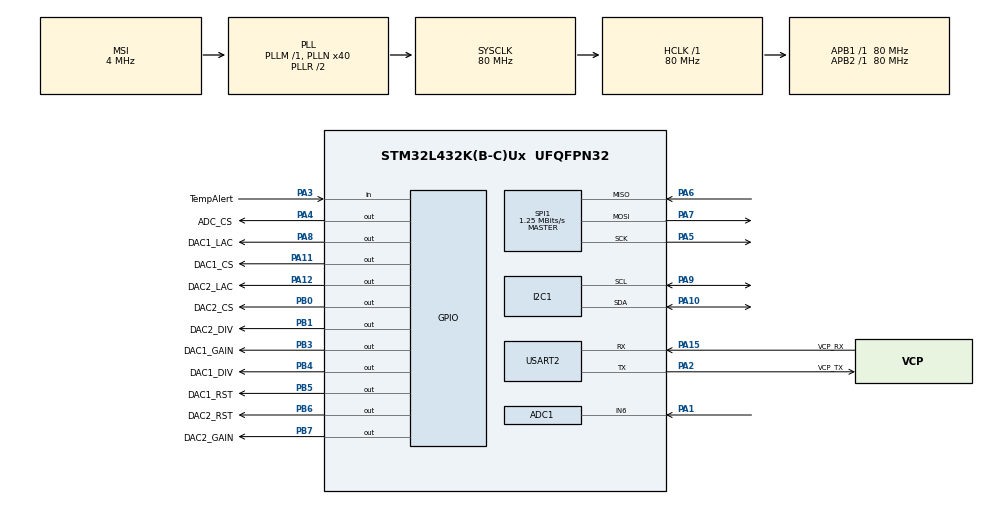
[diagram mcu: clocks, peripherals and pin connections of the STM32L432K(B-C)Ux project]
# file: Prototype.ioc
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ADC1.Channel-0\#ChannelRegularConversion=ADC_CHANNEL_6
ADC1.NbrOfConversionFlag=1
ADC1.OffsetNumber-0\#ChannelRegularConversion=ADC_OFFSET_NONE
ADC1.Rank-0\#ChannelRegularConversion=1
ADC1.Resolution=ADC_RESOLUTION_12B
ADC1.SamplingTime-0\#ChannelRegularConversion=ADC_SAMPLETIME_2CYCLES_5
ADC1.master=1
Dma.Request0=USART2_RX
Dma.Request1=USART2_TX
Dma.USART2_RX.0.Direction=DMA_PERIPH_TO_MEMORY
Dma.USART2_RX.0.Instance=DMA1_Channel6
Dma.USART2_RX.0.MemDataAlignment=DMA_MDATAALIGN_BYTE
Dma.USART2_RX.0.MemInc=DMA_MINC_ENABLE
Dma.USART2_RX.0.Mode=DMA_NORMAL
Dma.USART2_RX.0.PeriphDataAlignment=DMA_PDATAALIGN_BYTE
Dma.USART2_RX.0.PeriphInc=DMA_PINC_DISABLE
Dma.USART2_RX.0.Priority=DMA_PRIORITY_LOW
Dma.USART2_TX.1.Direction=DMA_MEMORY_TO_PERIPH
Dma.USART2_TX.1.Instance=DMA1_Channel7
Dma.USART2_TX.1.MemDataAlignment=DMA_MDATAALIGN_BYTE
Dma.USART2_TX.1.MemInc=DMA_MINC_ENABLE
Dma.USART2_TX.1.Mode=DMA_NORMAL
Dma.USART2_TX.1.PeriphDataAlignment=DMA_PDATAALIGN_BYTE
Dma.USART2_TX.1.PeriphInc=DMA_PINC_DISABLE
Dma.USART2_TX.1.Priority=DMA_PRIORITY_LOW
FREERTOS.BinarySemaphores01=semV1,Dynamic,NULL;semV2,Dynamic,NULL;semV3,Dynamic,NULL;semV4,Dynamic,NULL;semTemp,Dynamic,NULL;semP1,Dynamic,NULL;semVSIM,Dynamic,NULL
FREERTOS.CountingSemaphores01=semReturn,7,Dynamic,NULL
FREERTOS.Mutexes01=mutexSPI,Dynamic,NULL;mutexPrint,Dynamic,NULL
FREERTOS.Tasks01=CLI,8,128,StartCLI,Default,NULL,Dynamic,NULL,NULL;Temp,40,128,StartTemp,Default,NULL,Dynamic,NULL,NULL;V1,24,128,StartV1,Default,NULL,Dynamic,NULL,NULL;V2,24,128,StartV2,Default,NULL,Dynamic,NULL,NULL;V3,24,128,StarV3,Default,NULL,Dynamic,NULL,NULL;V4,24,128,StartV4,Default,NULL,Dynamic,NULL,NULL;P1,24,128,StartP1,Default,NULL,Dynamic,NULL,NULL;VSIM,24,128,StartVSIM,Default,NULL,Dynamic,NULL,NULL;Print,16,128,StartPrint,Default,NULL,Dynamic,NULL,NULL
FREERTOS.configENABLE_FPU=1
FREERTOS.configQUEUE_REGISTRY_SIZE=8
FREERTOS.configTOTAL_HEAP_SIZE=8000
FREERTOS.configUSE_NEWLIB_REENTRANT=1
I2C1.Timing=0x10909CEC
Mcu.Family=STM32L4
Mcu.Name=STM32L432K(B-C)Ux
Mcu.Package=UFQFPN32
NVIC.DMA1_Channel6_IRQn=true\:5\:0\:false\:false\:true\:true\:false\:true\:true
NVIC.DMA1_Channel7_IRQn=true\:5\:0\:false\:false\:true\:true\:false\:true\:true
NVIC.PriorityGroup=NVIC_PRIORITYGROUP_4
NVIC.TIM1_UP_TIM16_IRQn=true\:15\:0\:false\:false\:true\:false\:false\:true\:true
NVIC.TimeBase=TIM1_UP_TIM16_IRQn
NVIC.TimeBaseIP=TIM1
NVIC.USART2_IRQn=true\:5\:0\:false\:false\:true\:true\:true\:true\:true
PA0.GPIO_Label=MCO [High speed clock in]
PA0.Mode=HSE-External-Clock-Source-for-LittleOrca
PA0.Signal=RCC_CK_IN
PA1.Signal=ADCx_IN6
PA10.Mode=I2C
PA10.Signal=I2C1_SDA
PA11.GPIO_Label=DAC1_CS
PA11.PinState=GPIO_PIN_SET
PA11.Signal=GPIO_Output
PA12.GPIO_Label=DAC2_LAC
PA12.Signal=GPIO_Output
PA13\ (JTMS-SWDIO).GPIO_Label=SWDIO
PA13\ (JTMS-SWDIO).Mode=Serial_Wire
PA13\ (JTMS-SWDIO).Signal=SYS_JTMS-SWDIO
PA14\ (JTCK-SWCLK).GPIO_Label=SWCLK
PA14\ (JTCK-SWCLK).Mode=Serial_Wire
PA14\ (JTCK-SWCLK).Signal=SYS_JTCK-SWCLK
PA15\ (JTDI).GPIO_Label=VCP_RX
PA15\ (JTDI).Mode=Asynchronous
PA15\ (JTDI).Signal=USART2_RX
PA2.GPIO_Label=VCP_TX
PA2.Mode=Asynchronous
PA2.Signal=USART2_TX
PA3.GPIO_Label=TempAlert
PA3.Signal=GPIO_Input
PA4.GPIO_Label=ADC_CS
PA4.PinState=GPIO_PIN_SET
PA4.Signal=GPIO_Output
PA5.Mode=Full_Duplex_Master
PA5.Signal=SPI1_SCK
PA6.Mode=Full_Duplex_Master
PA6.Signal=SPI1_MISO
PA7.Mode=Full_Duplex_Master
PA7.Signal=SPI1_MOSI
PA8.GPIO_Label=DAC1_LAC
PA8.PinState=GPIO_PIN_RESET
PA8.Signal=GPIO_Output
PA9.Mode=I2C
PA9.Signal=I2C1_SCL
PB0.GPIO_Label=DAC2_CS
PB0.PinState=GPIO_PIN_SET
PB0.Signal=GPIO_Output
PB1.GPIO_Label=DAC2_DIV
PB1.GPIO_ModeDefaultOutputPP=GPIO_MODE_OUTPUT_PP
PB1.GPIO_PuPd=GPIO_NOPULL
PB1.PinState=GPIO_PIN_SET
PB1.Signal=GPIO_Output
PB3\ (JTDO-TRACESWO).GPIO_Label=DAC1_GAIN
PB3\ (JTDO-TRACESWO).PinState=GPIO_PIN_SET
PB3\ (JTDO-TRACESWO).Signal=GPIO_Output
PB4\ (NJTRST).GPIO_Label=DAC1_DIV
PB4\ (NJTRST).PinState=GPIO_PIN_SET
PB4\ (NJTRST).Signal=GPIO_Output
PB5.GPIO_Label=DAC1_RST
PB5.Signal=GPIO_Output
PB6.GPIO_Label=DAC2_RST
PB6.Signal=GPIO_Output
PB7.GPIO_Label=DAC2_GAIN
PB7.PinState=GPIO_PIN_SET
PB7.Signal=GPIO_Output
PC14-OSC32_IN\ (PC14).Mode=LSE-External-Oscillator
PC14-OSC32_IN\ (PC14).Signal=RCC_OSC32_IN
PC15-OSC32_OUT\ (PC15).Mode=LSE-External-Oscillator
PC15-OSC32_OUT\ (PC15).Signal=RCC_OSC32_OUT
ProjectManager.HeapSize=0x200
ProjectManager.StackSize=0x400
ProjectManager.TargetToolchain=STM32CubeIDE
RCC.ADCFreq_Value=32000000
RCC.AHBFreq_Value=80000000
RCC.APB1Freq_Value=80000000
RCC.APB1TimFreq_Value=80000000
RCC.APB2Freq_Value=80000000
RCC.APB2TimFreq_Value=80000000
RCC.CortexFreq_Value=80000000
RCC.HCLKFreq_Value=80000000
RCC.HSE_VALUE=8000000
RCC.HSI16_VALUE=16000000
RCC.HSI48_VALUE=48000000
RCC.HSI_VALUE=16000000
RCC.MSI_VALUE=4000000
RCC.PLLMUL=RCC_PLLMUL_4
RCC.PLLN=40
RCC.PLLSAI1N=16
RCC.SYSCLKFreq_VALUE=80000000
RCC.SYSCLKSource=RCC_SYSCLKSOURCE_PLLCLK
RCC.USBFreq_Value=32000000
RCC.VCOOutputFreq_Value=160000000
SH.ADCx_IN6.0=ADC1_IN6,IN6-Single-Ended
SPI1.BaudRatePrescaler=SPI_BAUDRATEPRESCALER_64
SPI1.CLKPhase=SPI_PHASE_1EDGE
SPI1.CLKPolarity=SPI_POLARITY_LOW
SPI1.CRCCalculation=SPI_CRCCALCULATION_DISABLE
SPI1.CalculateBaudRate=1.25 MBits/s
SPI1.DataSize=SPI_DATASIZE_8BIT
SPI1.Direction=SPI_DIRECTION_2LINES
SPI1.Mode=SPI_MODE_MASTER
SPI1.TIMode=SPI_TIMODE_DISABLE
SPI1.VirtualType=VM_MASTER
USART2.VirtualMode-Asynchronous=VM_ASYNC
VP_FREERTOS_VS_CMSIS_V2.Mode=CMSIS_V2
VP_SYS_VS_tim1.Mode=TIM1
board=NUCLEO-L432KC

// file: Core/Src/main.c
/* USER CODE BEGIN Header */
/**
  ******************************************************************************
  * @file           : main.c
  * @brief          : Main program body
  ******************************************************************************
  * @attention
  *
  * Copyright (c) 2024 STMicroelectronics.
  * All rights reserved.
  *
  * This software is licensed under terms that can be found in the LICENSE file
  * in the root directory of this software component.
  * If no LICENSE file comes with this software, it is provided AS-IS.
  *
  ******************************************************************************
  */
/* USER CODE END Header */
#include "main.h"
#include "cmsis_os.h"

ADC_HandleTypeDef hadc1;

I2C_HandleTypeDef hi2c1;

SPI_HandleTypeDef hspi1;

UART_HandleTypeDef huart2;
DMA_HandleTypeDef hdma_usart2_rx;
DMA_HandleTypeDef hdma_usart2_tx;

/* Definitions for CLI */
osThreadId_t CLIHandle;
const osThreadAttr_t CLI_attributes = {
  .name = "CLI",
  .stack_size = 128 * 4,
  .priority = (osPriority_t) osPriorityLow,
};
/* Definitions for Temp */
osThreadId_t TempHandle;
const osThreadAttr_t Temp_attributes = {
  .name = "Temp",
  .stack_size = 128 * 4,
  .priority = (osPriority_t) osPriorityHigh,
};
/* Definitions for V1 */
osThreadId_t V1Handle;
const osThreadAttr_t V1_attributes = {
  .name = "V1",
  .stack_size = 128 * 4,
  .priority = (osPriority_t) osPriorityNormal,
};
/* Definitions for V2 */
osThreadId_t V2Handle;
const osThreadAttr_t V2_attributes = {
  .name = "V2",
  .stack_size = 128 * 4,
  .priority = (osPriority_t) osPriorityNormal,
};
/* Definitions for V3 */
osThreadId_t V3Handle;
const osThreadAttr_t V3_attributes = {
  .name = "V3",
  .stack_size = 128 * 4,
  .priority = (osPriority_t) osPriorityNormal,
};
/* Definitions for V4 */
osThreadId_t V4Handle;
const osThreadAttr_t V4_attributes = {
  .name = "V4",
  .stack_size = 128 * 4,
  .priority = (osPriority_t) osPriorityNormal,
};
/* Definitions for P1 */
osThreadId_t P1Handle;
const osThreadAttr_t P1_attributes = {
  .name = "P1",
  .stack_size = 128 * 4,
  .priority = (osPriority_t) osPriorityNormal,
};
/* Definitions for VSIM */
osThreadId_t VSIMHandle;
const osThreadAttr_t VSIM_attributes = {
  .name = "VSIM",
  .stack_size = 128 * 4,
  .priority = (osPriority_t) osPriorityNormal,
};
/* Definitions for Print */
osThreadId_t PrintHandle;
const osThreadAttr_t Print_attributes = {
  .name = "Print",
  .stack_size = 128 * 4,
  .priority = (osPriority_t) osPriorityBelowNormal,
};
/* Definitions for mutexSPI */
osMutexId_t mutexSPIHandle;
const osMutexAttr_t mutexSPI_attributes = {
  .name = "mutexSPI"
};
/* Definitions for mutexPrint */
osMutexId_t mutexPrintHandle;
const osMutexAttr_t mutexPrint_attributes = {
  .name = "mutexPrint"
};
/* Definitions for semV1 */
osSemaphoreId_t semV1Handle;
const osSemaphoreAttr_t semV1_attributes = {
  .name = "semV1"
};
/* Definitions for semV2 */
osSemaphoreId_t semV2Handle;
const osSemaphoreAttr_t semV2_attributes = {
  .name = "semV2"
};
/* Definitions for semV3 */
osSemaphoreId_t semV3Handle;
const osSemaphoreAttr_t semV3_attributes = {
  .name = "semV3"
};
/* Definitions for semV4 */
osSemaphoreId_t semV4Handle;
const osSemaphoreAttr_t semV4_attributes = {
  .name = "semV4"
};
/* Definitions for semTemp */
osSemaphoreId_t semTempHandle;
const osSemaphoreAttr_t semTemp_attributes = {
  .name = "semTemp"
};
/* Definitions for semP1 */
osSemaphoreId_t semP1Handle;
const osSemaphoreAttr_t semP1_attributes = {
  .name = "semP1"
};
/* Definitions for semVSIM */
osSemaphoreId_t semVSIMHandle;
const osSemaphoreAttr_t semVSIM_attributes = {
  .name = "semVSIM"
};
/* Definitions for semReturn */
osSemaphoreId_t semReturnHandle;
const osSemaphoreAttr_t semReturn_attributes = {
  .name = "semReturn"
};
/* USER CODE BEGIN PV */
uint8_t UART_tx_flag = 0;
uint8_t UART_rx_flag = 0;
uint8_t UART_rx[1];
uint8_t UART_rx_buff[100];
uint8_t UARTcnt = 0;
struct Channels channels;
struct pH p1;

// message queue
osMessageQueueId_t queueHandle;
const osMessageQueueAttr_t queue_attributes = {
  .name = "queue"
};

/* USER CODE END PV */

void SystemClock_Config(void);
static void MX_GPIO_Init(void);
static void MX_DMA_Init(void);
static void MX_USART2_UART_Init(void);
static void MX_SPI1_Init(void);
static void MX_I2C1_Init(void);
static void MX_ADC1_Init(void);
void StartCLI(void *argument);
void StartTemp(void *argument);
void StartV1(void *argument);
void StartV2(void *argument);
void StarV3(void *argument);
void StartV4(void *argument);
void StartP1(void *argument);
void StartVSIM(void *argument);
void StartPrint(void *argument);

/* USER CODE BEGIN PFP */
void SPI1_change_polarity(void);
void voltammerty(uint8_t channel, uint8_t set, uint8_t DAC_Vin, uint8_t DAC_Vw);
void ADC_get_send(uint8_t setting, uint8_t channel, float dac, uint32_t tick);
void DAC_set(uint8_t setting, uint8_t channel, float voltage);
/* USER CODE END PFP */

int main(void)
{

  /* MCU Configuration--------------------------------------------------------*/

  /* Reset of all peripherals, Initializes the Flash interface and the Systick. */
  HAL_Init();

  /* Configure the system clock */
  SystemClock_Config();

  /* Initialize all configured peripherals */
  MX_GPIO_Init();
  MX_DMA_Init();
  MX_USART2_UART_Init();
  MX_SPI1_Init();
  MX_I2C1_Init();
  MX_ADC1_Init();
  /* USER CODE BEGIN 2 */
	// ADC change polarity SPI for DAC's
	ADC_change_polarity();
	SPI1_change_polarity();
	check_ADC();
	// disable internal reference DAC's
	write_DAC(DAC_1, CONFIG, 0x0100);
	write_DAC(DAC_2, CONFIG, 0x0100);
  /* USER CODE END 2 */

  /* Init scheduler */
  osKernelInitialize();
  /* Create the mutex(es) */
  /* creation of mutexSPI */
  mutexSPIHandle = osMutexNew(&mutexSPI_attributes);

  /* creation of mutexPrint */
  mutexPrintHandle = osMutexNew(&mutexPrint_attributes);

  /* Create the semaphores(s) */
  /* creation of semV1 */
  semV1Handle = osSemaphoreNew(1, 0, &semV1_attributes);

  /* creation of semV2 */
  semV2Handle = osSemaphoreNew(1, 0, &semV2_attributes);

  /* creation of semV3 */
  semV3Handle = osSemaphoreNew(1, 0, &semV3_attributes);

  /* creation of semV4 */
  semV4Handle = osSemaphoreNew(1, 0, &semV4_attributes);

  /* creation of semTemp */
  semTempHandle = osSemaphoreNew(1, 0, &semTemp_attributes);

  /* creation of semP1 */
  semP1Handle = osSemaphoreNew(1, 0, &semP1_attributes);

  /* creation of semVSIM */
  semVSIMHandle = osSemaphoreNew(1, 0, &semVSIM_attributes);

  /* creation of semReturn */
  semReturnHandle = osSemaphoreNew(7, 7, &semReturn_attributes);

  /* USER CODE BEGIN RTOS_QUEUES */
  /* add queues, ... */
  queueHandle = osMessageQueueNew(20, sizeof(MSGQUEUE_OBJ_t), &queue_attributes);
  /* USER CODE END RTOS_QUEUES */

  /* Create the thread(s) */
  /* creation of CLI */
  CLIHandle = osThreadNew(StartCLI, NULL, &CLI_attributes);

  /* creation of Temp */
  TempHandle = osThreadNew(StartTemp, NULL, &Temp_attributes);

  /* creation of V1 */
  V1Handle = osThreadNew(StartV1, NULL, &V1_attributes);

  /* creation of V2 */
  V2Handle = osThreadNew(StartV2, NULL, &V2_attributes);

  /* creation of V3 */
  V3Handle = osThreadNew(StarV3, NULL, &V3_attributes);

  /* creation of V4 */
  V4Handle = osThreadNew(StartV4, NULL, &V4_attributes);

  /* creation of P1 */
  P1Handle = osThreadNew(StartP1, NULL, &P1_attributes);

  /* creation of VSIM */
  VSIMHandle = osThreadNew(StartVSIM, NULL, &VSIM_attributes);

  /* creation of Print */
  PrintHandle = osThreadNew(StartPrint, NULL, &Print_attributes);

  /* Start scheduler */
  osKernelStart();

  /* We should never get here as control is now taken by the scheduler */

  /* Infinite loop */
  while (1)
  {

  }
}

void SystemClock_Config(void)
{
  RCC_OscInitTypeDef RCC_OscInitStruct = {0};
  RCC_ClkInitTypeDef RCC_ClkInitStruct = {0};

  /** Configure the main internal regulator output voltage
  */
  if (HAL_PWREx_ControlVoltageScaling(PWR_REGULATOR_VOLTAGE_SCALE1) != HAL_OK)
  {
    Error_Handler();
  }

  /** Configure LSE Drive Capability
  */
  HAL_PWR_EnableBkUpAccess();
  __HAL_RCC_LSEDRIVE_CONFIG(RCC_LSEDRIVE_LOW);

  /** Initializes the RCC Oscillators according to the specified parameters
  * in the RCC_OscInitTypeDef structure.
  */
  RCC_OscInitStruct.OscillatorType = RCC_OSCILLATORTYPE_LSE|RCC_OSCILLATORTYPE_MSI;
  RCC_OscInitStruct.LSEState = RCC_LSE_ON;
  RCC_OscInitStruct.MSIState = RCC_MSI_ON;
  RCC_OscInitStruct.MSICalibrationValue = 0;
  RCC_OscInitStruct.MSIClockRange = RCC_MSIRANGE_6;
  RCC_OscInitStruct.PLL.PLLState = RCC_PLL_ON;
  RCC_OscInitStruct.PLL.PLLSource = RCC_PLLSOURCE_MSI;
  RCC_OscInitStruct.PLL.PLLM = 1;
  RCC_OscInitStruct.PLL.PLLN = 40;
  RCC_OscInitStruct.PLL.PLLP = RCC_PLLP_DIV7;
  RCC_OscInitStruct.PLL.PLLQ = RCC_PLLQ_DIV2;
  RCC_OscInitStruct.PLL.PLLR = RCC_PLLR_DIV2;
  if (HAL_RCC_OscConfig(&RCC_OscInitStruct) != HAL_OK)
  {
    Error_Handler();
  }

  /** Initializes the CPU, AHB and APB buses clocks
  */
  RCC_ClkInitStruct.ClockType = RCC_CLOCKTYPE_HCLK|RCC_CLOCKTYPE_SYSCLK
                              |RCC_CLOCKTYPE_PCLK1|RCC_CLOCKTYPE_PCLK2;
  RCC_ClkInitStruct.SYSCLKSource = RCC_SYSCLKSOURCE_PLLCLK;
  RCC_ClkInitStruct.AHBCLKDivider = RCC_SYSCLK_DIV1;
  RCC_ClkInitStruct.APB1CLKDivider = RCC_HCLK_DIV1;
  RCC_ClkInitStruct.APB2CLKDivider = RCC_HCLK_DIV1;

  if (HAL_RCC_ClockConfig(&RCC_ClkInitStruct, FLASH_LATENCY_4) != HAL_OK)
  {
    Error_Handler();
  }

  /** Enable MSI Auto calibration
  */
  HAL_RCCEx_EnableMSIPLLMode();
}

static void MX_ADC1_Init(void)
{

  ADC_ChannelConfTypeDef sConfig = {0};

  /** Common config
  */
  hadc1.Instance = ADC1;
  hadc1.Init.ClockPrescaler = ADC_CLOCK_ASYNC_DIV1;
  hadc1.Init.Resolution = ADC_RESOLUTION_12B;
  hadc1.Init.DataAlign = ADC_DATAALIGN_RIGHT;
  hadc1.Init.ScanConvMode = ADC_SCAN_DISABLE;
  hadc1.Init.EOCSelection = ADC_EOC_SINGLE_CONV;
  hadc1.Init.LowPowerAutoWait = DISABLE;
  hadc1.Init.ContinuousConvMode = DISABLE;
  hadc1.Init.NbrOfConversion = 1;
  hadc1.Init.DiscontinuousConvMode = DISABLE;
  hadc1.Init.ExternalTrigConv = ADC_SOFTWARE_START;
  hadc1.Init.ExternalTrigConvEdge = ADC_EXTERNALTRIGCONVEDGE_NONE;
  hadc1.Init.DMAContinuousRequests = DISABLE;
  hadc1.Init.Overrun = ADC_OVR_DATA_PRESERVED;
  hadc1.Init.OversamplingMode = DISABLE;
  if (HAL_ADC_Init(&hadc1) != HAL_OK)
  {
    Error_Handler();
  }

  /** Configure Regular Channel
  */
  sConfig.Channel = ADC_CHANNEL_6;
  sConfig.Rank = ADC_REGULAR_RANK_1;
  sConfig.SamplingTime = ADC_SAMPLETIME_2CYCLES_5;
  sConfig.SingleDiff = ADC_SINGLE_ENDED;
  sConfig.OffsetNumber = ADC_OFFSET_NONE;
  sConfig.Offset = 0;
  if (HAL_ADC_ConfigChannel(&hadc1, &sConfig) != HAL_OK)
  {
    Error_Handler();
  }

}

static void MX_I2C1_Init(void)
{

  hi2c1.Instance = I2C1;
  hi2c1.Init.Timing = 0x10909CEC;
  hi2c1.Init.OwnAddress1 = 0;
  hi2c1.Init.AddressingMode = I2C_ADDRESSINGMODE_7BIT;
  hi2c1.Init.DualAddressMode = I2C_DUALADDRESS_DISABLE;
  hi2c1.Init.OwnAddress2 = 0;
  hi2c1.Init.OwnAddress2Masks = I2C_OA2_NOMASK;
  hi2c1.Init.GeneralCallMode = I2C_GENERALCALL_DISABLE;
  hi2c1.Init.NoStretchMode = I2C_NOSTRETCH_DISABLE;
  if (HAL_I2C_Init(&hi2c1) != HAL_OK)
  {
    Error_Handler();
  }

  /** Configure Analogue filter
  */
  if (HAL_I2CEx_ConfigAnalogFilter(&hi2c1, I2C_ANALOGFILTER_ENABLE) != HAL_OK)
  {
    Error_Handler();
  }

  /** Configure Digital filter
  */
  if (HAL_I2CEx_ConfigDigitalFilter(&hi2c1, 0) != HAL_OK)
  {
    Error_Handler();
  }

}

static void MX_SPI1_Init(void)
{

  /* SPI1 parameter configuration*/
  hspi1.Instance = SPI1;
  hspi1.Init.Mode = SPI_MODE_MASTER;
  hspi1.Init.Direction = SPI_DIRECTION_2LINES;
  hspi1.Init.DataSize = SPI_DATASIZE_8BIT;
  hspi1.Init.CLKPolarity = SPI_POLARITY_LOW;
  hspi1.Init.CLKPhase = SPI_PHASE_1EDGE;
  hspi1.Init.NSS = SPI_NSS_SOFT;
  hspi1.Init.BaudRatePrescaler = SPI_BAUDRATEPRESCALER_64;
  hspi1.Init.FirstBit = SPI_FIRSTBIT_MSB;
  hspi1.Init.TIMode = SPI_TIMODE_DISABLE;
  hspi1.Init.CRCCalculation = SPI_CRCCALCULATION_DISABLE;
  hspi1.Init.CRCPolynomial = 7;
  hspi1.Init.CRCLength = SPI_CRC_LENGTH_DATASIZE;
  hspi1.Init.NSSPMode = SPI_NSS_PULSE_ENABLE;
  if (HAL_SPI_Init(&hspi1) != HAL_OK)
  {
    Error_Handler();
  }

}

static void MX_USART2_UART_Init(void)
{

  huart2.Instance = USART2;
  huart2.Init.BaudRate = 115200;
  huart2.Init.WordLength = UART_WORDLENGTH_8B;
  huart2.Init.StopBits = UART_STOPBITS_1;
  huart2.Init.Parity = UART_PARITY_NONE;
  huart2.Init.Mode = UART_MODE_TX_RX;
  huart2.Init.HwFlowCtl = UART_HWCONTROL_NONE;
  huart2.Init.OverSampling = UART_OVERSAMPLING_16;
  huart2.Init.OneBitSampling = UART_ONE_BIT_SAMPLE_DISABLE;
  huart2.AdvancedInit.AdvFeatureInit = UART_ADVFEATURE_NO_INIT;
  if (HAL_UART_Init(&huart2) != HAL_OK)
  {
    Error_Handler();
  }

}

static void MX_DMA_Init(void)
{

  /* DMA controller clock enable */
  __HAL_RCC_DMA1_CLK_ENABLE();

  /* DMA interrupt init */
  /* DMA1_Channel6_IRQn interrupt configuration */
  HAL_NVIC_SetPriority(DMA1_Channel6_IRQn, 5, 0);
  HAL_NVIC_EnableIRQ(DMA1_Channel6_IRQn);
  /* DMA1_Channel7_IRQn interrupt configuration */
  HAL_NVIC_SetPriority(DMA1_Channel7_IRQn, 5, 0);
  HAL_NVIC_EnableIRQ(DMA1_Channel7_IRQn);

}

static void MX_GPIO_Init(void)
{
  GPIO_InitTypeDef GPIO_InitStruct = {0};

  /* GPIO Ports Clock Enable */
  __HAL_RCC_GPIOC_CLK_ENABLE();
  __HAL_RCC_GPIOA_CLK_ENABLE();
  __HAL_RCC_GPIOB_CLK_ENABLE();

  /*Configure GPIO pin Output Level */
  HAL_GPIO_WritePin(GPIOA, ADC_CS_Pin|DAC1_CS_Pin, GPIO_PIN_SET);

  /*Configure GPIO pin Output Level */
  HAL_GPIO_WritePin(GPIOB, DAC2_CS_Pin|DAC2_DIV_Pin|DAC1_GAIN_Pin|DAC1_DIV_Pin
                          |DAC2_GAIN_Pin, GPIO_PIN_SET);

  /*Configure GPIO pin Output Level */
  HAL_GPIO_WritePin(GPIOA, DAC1_LAC_Pin|DAC2_LAC_Pin, GPIO_PIN_RESET);

  /*Configure GPIO pin Output Level */
  HAL_GPIO_WritePin(GPIOB, DAC1_RST_Pin|DAC2_RST_Pin, GPIO_PIN_RESET);

  /*Configure GPIO pin : TempAlert_Pin */
  GPIO_InitStruct.Pin = TempAlert_Pin;
  GPIO_InitStruct.Mode = GPIO_MODE_INPUT;
  GPIO_InitStruct.Pull = GPIO_NOPULL;
  HAL_GPIO_Init(TempAlert_GPIO_Port, &GPIO_InitStruct);

  /*Configure GPIO pins : ADC_CS_Pin DAC1_LAC_Pin DAC1_CS_Pin DAC2_LAC_Pin */
  GPIO_InitStruct.Pin = ADC_CS_Pin|DAC1_LAC_Pin|DAC1_CS_Pin|DAC2_LAC_Pin;
  GPIO_InitStruct.Mode = GPIO_MODE_OUTPUT_PP;
  GPIO_InitStruct.Pull = GPIO_NOPULL;
  GPIO_InitStruct.Speed = GPIO_SPEED_FREQ_LOW;
  HAL_GPIO_Init(GPIOA, &GPIO_InitStruct);

  /*Configure GPIO pins : DAC2_CS_Pin DAC2_DIV_Pin DAC1_GAIN_Pin DAC1_DIV_Pin
                           DAC1_RST_Pin DAC2_RST_Pin DAC2_GAIN_Pin */
  GPIO_InitStruct.Pin = DAC2_CS_Pin|DAC2_DIV_Pin|DAC1_GAIN_Pin|DAC1_DIV_Pin
                          |DAC1_RST_Pin|DAC2_RST_Pin|DAC2_GAIN_Pin;
  GPIO_InitStruct.Mode = GPIO_MODE_OUTPUT_PP;
  GPIO_InitStruct.Pull = GPIO_NOPULL;
  GPIO_InitStruct.Speed = GPIO_SPEED_FREQ_LOW;
  HAL_GPIO_Init(GPIOB, &GPIO_InitStruct);

}

/* USER CODE BEGIN 4 */
// this function gets the value from the
void ADC_get_send(uint8_t setting, uint8_t channel, float dac, uint32_t tick){
	MSGQUEUE_OBJ_t msg;

	if(setting == 0){
		uint8_t sel_ch[2] = {channel*2,channel*2+1};	// channel for both ADC of one voltammerty channel
		float volt[2];
		osMutexAcquire(mutexSPIHandle, osWaitForever);
		ADC_mult(2,sel_ch,volt);	// two as first argument otherwise nothing is received
		osMutexRelease(mutexSPIHandle);
		// send data
		msg.channel = channel;
		msg.tick = tick;
		msg.val_x = dac;
		msg.val = volt[0];
		msg.val_rf = volt[1];
	    osMessageQueuePut(queueHandle, &msg, 0U, 0U);
	}
	else{
		// for simultaneously mode use the sel_ch to see the channels that are selected (in binary)
		uint8_t cnt = 0;
		uint8_t sel_ch[8] = {0,0,0,0,0,0,0,0};
		uint8_t ch[8] = {0,0,0,0};
		for(uint8_t i=0;i<4;i++){
			if(channel&0x01){
				ch[cnt] = i;
				sel_ch[cnt*2] = i*2;		// two ADC for one voltammerty channel. Thus, 8 channels
				sel_ch[cnt*2+1] = i*2+1;
				cnt += 1;
			}
			channel = channel>>1;
		}
		float volt[cnt*2];
		osMutexAcquire(mutexSPIHandle, osWaitForever);
		ADC_mult(cnt*2,sel_ch,volt);
		osMutexRelease(mutexSPIHandle);
		// send data
		for(uint8_t i=0;i<cnt;i++){
			switch(ch[i]){
				case V1:
					msg.channel = V1;
					break;
				case V2:
					msg.channel = V2;
					break;
				case V3:
					msg.channel = V3;
					break;
				case V4:
					msg.channel = V4;
					break;
			}
			msg.tick = tick;
			msg.val_x = dac;
			msg.val = volt[i*2];
			msg.val_rf = volt[i*2+1];
		    osMessageQueuePut(queueHandle, &msg, 0U, 0U);
		}
	}

	return;
}

void DAC_set(uint8_t setting, uint8_t channel, float voltage){
	uint8_t dac = 0;
	uint16_t result = (uint16_t)(voltage/33.0*655360.0);

	if(setting == 0){
		if(channel > CH3){
			channel -= 4;
			dac = DAC_2;
		}
		else{
			dac = DAC_1;
		}
		uint8_t reg = channel + 8;

		osMutexAcquire(mutexSPIHandle, osWaitForever);
		write_DAC(dac, reg, result);
		osMutexRelease(mutexSPIHandle);
	}
	else if(setting == 1){
		osMutexAcquire(mutexSPIHandle, osWaitForever);
		write_DAC(DAC_1, SYNC, (channel<<8));
		write_DAC(DAC_2, SYNC, (channel<<4));
		write_DAC(DAC_1, BRDCAST, result);
		write_DAC(DAC_2, BRDCAST, result);
		osMutexRelease(mutexSPIHandle);
	}

	return;
}

void voltammerty(uint8_t channel, uint8_t set, uint8_t DAC_Vin, uint8_t DAC_Vw){
	// get only one channel
	uint8_t chnnl = channel;
	if(set == SIM){
		uint8_t ch = channel;
		for(uint8_t i=0;i<4;i++){
			if(ch&0x01){
				channel = i;
			}
			ch = ch>>1;
		}
	}
	float E = 0;
	float vin = 0;
	uint8_t equilibration = 0;
	uint32_t tick;
	uint32_t wait;
	uint32_t start_tick = osKernelGetTickCount();
	switch(channels.parameters[channel].technique){
		case 1:
			// variables CV
			if(channels.parameters[channel].cv.E_vertex_1 < 0.0){
				if(channels.parameters[channel].cv.E_begin >= 0.0){
					E = channels.parameters[channel].cv.E_begin + channels.parameters[channel].cv.E_vertex_1*-2.0;
				}
				else{
					E = channels.parameters[channel].cv.E_vertex_1*-2.0 - channels.parameters[channel].cv.E_begin*-1.0;
				}
				vin = channels.parameters[channel].cv.E_vertex_1*-2.0;
			}
			else{
				E = 0.0;
				vin = 0.0;
			}
			DAC_set(set, DAC_Vw, 0.0);
			DAC_set(set, DAC_Vin, 0.0);
			float rate = channels.parameters[channel].cv.E_step/channels.parameters[channel].cv.scan_rate*1000;
			float rise = (channels.parameters[channel].cv.E_vertex_2 - channels.parameters[channel].cv.E_begin)/channels.parameters[channel].cv.E_step;
			uint32_t end_loop_rise = (uint32_t)rise;
			float fall = (channels.parameters[channel].cv.E_vertex_2 - channels.parameters[channel].cv.E_vertex_1)/channels.parameters[channel].cv.E_step;
			uint32_t end_loop_fall = (uint32_t)fall;
			// start CV
			osDelay(channels.parameters[channel].cv.t_equilibration*1000);
			// loops for rise and fall CV
			for(uint32_t i=0;i<end_loop_rise;i++){
				E = E + channels.parameters[channel].cv.E_step;
				DAC_set(set, DAC_Vw, E);
				osDelay(rate);
				ADC_get_send(set, chnnl,(E-vin), (osKernelGetTickCount()-start_tick));
			}
			for(uint32_t i=0;i<end_loop_fall;i++){
				E = E - channels.parameters[channel].cv.E_step;
				DAC_set(set, DAC_Vw, E);
				osDelay(rate);
				ADC_get_send(set, chnnl, (E-vin), (osKernelGetTickCount()-start_tick));
			}
			E = 0;
			DAC_set(set, DAC_Vw, E);
			DAC_set(set, DAC_Vin, 0.0);
			break;
		case 2:
			// variables DPV
			if(channels.parameters[channel].dpv.E_begin < 0.0){
				E = channels.parameters[channel].dpv.E_begin*-1.0;
				vin = channels.parameters[channel].dpv.E_begin*-2.0;

			}
			else{
				E = channels.parameters[channel].dpv.E_begin;
				vin = 0.0;
			}
			DAC_set(set, DAC_Vw, E);
			DAC_set(set, DAC_Vin, vin);
			float t_low = (channels.parameters[channel].dpv.E_step/channels.parameters[channel].dpv.Scan_rate - channels.parameters[channel].dpv.t_pulse) * 1000;
			float end_DPV = (channels.parameters[channel].dpv.E_end-channels.parameters[channel].dpv.E_begin)/channels.parameters[channel].dpv.E_step;
			uint32_t end_loop_DPV = (uint32_t)end_DPV;
			// start DPV
			for(uint32_t i=0;i<(end_loop_DPV+1);i++){
				if(equilibration == 0){
					osDelay(channels.parameters[channel].dpv.t_equilibration*1000);
					equilibration = 1;
				}
				E = E + channels.parameters[channel].dpv.E_pulse;
				DAC_set(set, DAC_Vw, E);
				osDelay(channels.parameters[channel].dpv.t_pulse*1000-1);
				tick = osKernelGetTickCount();
				wait = tick + 1;
				ADC_get_send(set, chnnl, (E-vin), (tick-start_tick));
				osDelayUntil(wait);
				E = E - channels.parameters[channel].dpv.E_pulse + channels.parameters[channel].dpv.E_step;
				DAC_set(set, DAC_Vw, E);
				osDelay(t_low-1);
				tick = osKernelGetTickCount();
				wait = tick + 1;
				ADC_get_send(set, chnnl, (E-vin), (tick-start_tick));
				osDelayUntil(wait);
			}
			E = 0;
			DAC_set(set, DAC_Vw, E);
			DAC_set(set, DAC_Vin, 0.0);
			equilibration = 0;
			break;
		case 3:
			// variables SWV
			if(channels.parameters[channel].swv.E_begin < 0.0){
				E = channels.parameters[channel].swv.E_begin*-1.0;
				vin = channels.parameters[channel].swv.E_begin*-2.0;
			}
			else{
				E = channels.parameters[channel].swv.E_begin;
				vin = 0.0;
			}
			DAC_set(set, DAC_Vw, E);
			DAC_set(set, DAC_Vin, vin);
			float period = 1/(2*channels.parameters[channel].swv.Frequency)*1000;
			float end_SWV = (channels.parameters[channel].swv.E_end-channels.parameters[channel].swv.E_begin)/channels.parameters[channel].swv.E_step;
			uint32_t end_loop_SWV = (uint32_t)end_SWV;
			// start SWV
			for(uint32_t i=0;i<(end_loop_SWV+1);i++){
				if(equilibration == 0){
					osDelay(channels.parameters[channel].swv.t_equilibration*1000);
					equilibration = 1;
					E = E - channels.parameters[channel].swv.Amplitude;	// to start
				}
				E = E + channels.parameters[channel].swv.E_step + 2*channels.parameters[channel].swv.Amplitude;
				DAC_set(set, DAC_Vw, E);
				osDelay(period-1);
				tick = osKernelGetTickCount();
				wait = tick + 1;
				ADC_get_send(set, chnnl, (E-vin), (tick-start_tick));
				osDelayUntil(wait);
				E = E - 2*channels.parameters[channel].swv.Amplitude;
				DAC_set(set, DAC_Vw, E);
				osDelay(period-1);
				tick = osKernelGetTickCount();
				wait = tick + 1;
				ADC_get_send(set, chnnl, (E-vin), (tick-start_tick));
				osDelayUntil(wait);
			}
			E = 0;
			DAC_set(set, DAC_Vw, E);
			DAC_set(set, DAC_Vin, 0.0);
			equilibration = 0;
			break;
	}
	return;
}

void SPI1_change_polarity(void){
  // change polarity for ADC and DAC (SPI)
  hspi1.Init.CLKPolarity = SPI_POLARITY_HIGH;
  if (HAL_SPI_Init(&hspi1) != HAL_OK)
  {
    Error_Handler();
  }

}
void clear_UART_rx_buff(void){
	// clear UART rx buffer
	for(uint8_t i=0;i<100;i++){
		UART_rx_buff[i] = 0;
	}
	return;
}
// interrupt(s)
void HAL_UART_TxCpltCallback(UART_HandleTypeDef * huart){
	UART_tx_flag = 0;
}
void HAL_UART_RxCpltCallback(UART_HandleTypeDef * huart){
	// put received data in UART_Rx_buff
	HAL_UART_Receive_DMA(&huart2, UART_rx, 1);
	UART_rx_buff[UARTcnt] = UART_rx[0];
	// check for new line and reset incrementer for UART_Rx_buff
	if(UART_rx_buff[UARTcnt] == 10){
		UART_rx_flag = 1;
		UARTcnt = 0;
	}
	else{
		UARTcnt += 1;
	}
}
/* USER CODE END 4 */

void StartCLI(void *argument)
{
  /* USER CODE BEGIN 5 */
	// set uart DMA receive
	HAL_UART_Receive_DMA(&huart2, UART_rx, 1);

	// set default settings of the prototype
	p1.t_interval = 0.1;
	p1.t_run = 1.0;

	channels.parameters[0].technique = 3.0;
	channels.parameters[0].swv.t_equilibration = 5;
	channels.parameters[0].swv.E_begin = -0.5;
	channels.parameters[0].swv.E_end = 1.0;
	channels.parameters[0].swv.Frequency = 10;
	channels.parameters[0].swv.E_step = 0.005;
	channels.parameters[0].swv.Amplitude = 0.025;

//	channels.parameters[0].technique = 2.0;
//	channels.parameters[0].dpv.t_equilibration = 5;
//	channels.parameters[0].dpv.E_begin = -0.5;
//	channels.parameters[0].dpv.E_end = 1.2;
//	channels.parameters[0].dpv.Scan_rate = 0.05;
//	channels.parameters[0].dpv.E_step = 0.005;
//	channels.parameters[0].dpv.E_pulse = 0.03;
//	channels.parameters[0].dpv.t_pulse = 0.015;

//	channels.parameters[0].technique = 1.0;
//	channels.parameters[0].cv.t_equilibration = 5;
//	channels.parameters[0].cv.E_begin = 0.5;
//	channels.parameters[0].cv.E_vertex_2 = 1.0;
//	channels.parameters[0].cv.E_vertex_1 = -0.5;
//	channels.parameters[0].cv.E_step  = 0.01;
//	channels.parameters[0].cv.scan_rate = 1.0;

	channels.parameters[1].technique = 0.0;
	channels.parameters[2].technique = 0.0;
	channels.parameters[3].technique = 0.0;

  /* Infinite loop */
  for(;;)
  {
	// check all if all tasks are done
	for(uint8_t i=0;i<7;i++){
		osSemaphoreAcquire(semReturnHandle, osWaitForever);
	}

	// use uart (with mutex because message queue task also use uart)
	osMutexAcquire(mutexPrintHandle, osWaitForever);
	// wait for input
	clear_UART_rx_buff();	// wait until user type someting in CLI and clear it to show menu
	UART_rx_flag = 0;
	while(UART_rx_flag != 1);
	clear_UART_rx_buff();
	UART_rx_flag = 0;
	UART_menu();			// run menu in CLI
	// release the tasks to execute
	osMutexRelease(mutexPrintHandle);

	osSemaphoreRelease(semTempHandle);
	osSemaphoreRelease(semV1Handle);
	osSemaphoreRelease(semV2Handle);
	osSemaphoreRelease(semV3Handle);
	osSemaphoreRelease(semV4Handle);
	osSemaphoreRelease(semP1Handle);
	osSemaphoreRelease(semVSIMHandle);

  }
  /* USER CODE END 5 */
}

void StartTemp(void *argument)
{
  /* USER CODE BEGIN StartTemp */
	uint8_t I2C_addrss = 0b10010000;	// address of temp sensor
	uint8_t I2C_tx_data[1];
	uint8_t I2C_rx_data[2];
	int16_t I2C_temp = 0;
	float temp = 0.0;
	MSGQUEUE_OBJ_t msg;
	/* Infinite loop */
	for(;;)
	{
	    osSemaphoreAcquire(semTempHandle, osWaitForever);
		// get temperature
		I2C_tx_data[0] = 0x01;
		HAL_I2C_Master_Transmit(&hi2c1, I2C_addrss, I2C_tx_data, 1, 100);
		HAL_I2C_Master_Receive(&hi2c1, I2C_addrss, I2C_rx_data, 2, 100);
		if((I2C_rx_data[1]&0x20) == 0x20){	// check if conversion is done
			I2C_tx_data[0] = 0x00;
			HAL_I2C_Master_Transmit(&hi2c1, I2C_addrss, I2C_tx_data, 1, 100);
			HAL_I2C_Master_Receive(&hi2c1, I2C_addrss, I2C_rx_data, 2, 100);
			I2C_temp = (I2C_rx_data[0]<<8) + I2C_rx_data[1];
			temp = (float)I2C_temp * 0.0078125;
			// send data
			msg.channel = TEMP;
			msg.val = temp;
		    osMessageQueuePut(queueHandle, &msg, 0U, 0U);
		}
	    osSemaphoreRelease(semReturnHandle);
	}

  /* USER CODE END StartTemp */
}

void StartV1(void *argument)
{
  /* USER CODE BEGIN StartV1 */
	/* Infinite loop */
	for(;;)
	{
		// voltammerty channel 1 in individual mode
		osSemaphoreAcquire(semV1Handle, osWaitForever);
		if(channels.on == ON && channels.broadcast == 0 && channels.parameters[0].technique != 0){
			voltammerty(V1, IND, CH0, CH1);
		}
		osSemaphoreRelease(semReturnHandle);
	}
  /* USER CODE END StartV1 */
}

void StartV2(void *argument)
{
  /* USER CODE BEGIN StartV2 */
  /* Infinite loop */
  for(;;)
  {
	// voltammerty channel 2 in individual mode
	osSemaphoreAcquire(semV2Handle, osWaitForever);
	if(channels.on == ON && channels.broadcast == 0 && channels.parameters[1].technique != 0){
		voltammerty(V2, IND, CH3, CH2);
	}
	osSemaphoreRelease(semReturnHandle);
  }
  /* USER CODE END StartV2 */
}

void StarV3(void *argument)
{
  /* USER CODE BEGIN StarV3 */
  /* Infinite loop */
  for(;;)
  {
	// voltammerty channel 3 in individual mode
	osSemaphoreAcquire(semV3Handle, osWaitForever);
	if(channels.on == ON && channels.broadcast == 0 && channels.parameters[2].technique != 0){
		voltammerty(V3, IND, CH4, CH5);
	}
	osSemaphoreRelease(semReturnHandle);
  }
  /* USER CODE END StarV3 */
}

void StartV4(void *argument)
{
  /* USER CODE BEGIN StartV4 */
  /* Infinite loop */
  for(;;)
  {
	// voltammerty channel 4 in individual mode
	osSemaphoreAcquire(semV4Handle, osWaitForever);
	if(channels.on == ON && channels.broadcast == 0 && channels.parameters[3].technique != 0){
		voltammerty(V4, IND, CH7, CH6);
	}
	osSemaphoreRelease(semReturnHandle);
  }
  /* USER CODE END StartV4 */
}

void StartP1(void *argument)
{
  /* USER CODE BEGIN StartP1 */
	MSGQUEUE_OBJ_t msg;
	float volt = 0.0;
	uint32_t tick, wait = 0;
  /* Infinite loop */
  for(;;)
  {
	// potential channel for measuring pH
	osSemaphoreAcquire(semP1Handle, osWaitForever);
	if(p1.on == ON){		// check if potentiostat is needs to measure
		HAL_ADC_Start(&hadc1);
		// calculate the end time for the for loop
		float end = p1.t_run/p1.t_interval;
		uint32_t end_loop = (uint32_t) end;
		uint32_t start_tick = osKernelGetTickCount();
		for(uint32_t i=0;i<end_loop;i++){
			tick = osKernelGetTickCount();
			wait = tick + (uint32_t)(1000*p1.t_interval); // get time and run next code and wait until time is done
			HAL_ADC_PollForConversion(&hadc1, 100);	// get data ADC
			uint32_t val_ADC_raw = HAL_ADC_GetValue(&hadc1);
			float val_ADC = (float)val_ADC_raw;
			volt = val_ADC*33/40960;
			// send potential calculated from ADC
			msg.channel = P1;
			msg.tick = (tick - start_tick);
			msg.val = volt;
		    osMessageQueuePut(queueHandle, &msg, 0U, 0U);
			osDelayUntil(wait);
		}
		HAL_ADC_Stop(&hadc1);
	}
	osSemaphoreRelease(semReturnHandle);
  }
  /* USER CODE END StartP1 */
}

void StartVSIM(void *argument)
{
  /* USER CODE BEGIN StartVSIM */
	uint8_t channel = 0;
	uint8_t DAC_Vin = 0;
	uint8_t DAC_Vw = 0;
  /* Infinite loop */
  for(;;)
  {
	// simultaneously measure the voltammerty channels by setting the the dac channels high for all channels that are measured
	osSemaphoreAcquire(semVSIMHandle, osWaitForever);
	if(channels.on == ON && channels.broadcast == 1){
		for(uint8_t i=0;i<4;i++){
			if(channels.parameters[i].ch_brdcst_on == 1){
				channel = channel | (1<<i);
				switch(i){
					case 0:
						DAC_Vin = DAC_Vin | (1<<CH0);
						DAC_Vw = DAC_Vw | (1<<CH1);
						break;
					case 1:
						DAC_Vin = DAC_Vin | (1<<CH3);
						DAC_Vw = DAC_Vw | (1<<CH2);
						break;
					case 2:
						DAC_Vin = DAC_Vin | (1<<CH4);
						DAC_Vw = DAC_Vw | (1<<CH5);
						break;
					case 3:
						DAC_Vin = DAC_Vin | (1<<CH7);
						DAC_Vw = DAC_Vw | (1<<CH6);
						break;
				}
			}
		}
		voltammerty(channel, SIM, DAC_Vin, DAC_Vw);
		channel = 0;
		DAC_Vin = 0;
		DAC_Vw = 0;
	}
	osSemaphoreRelease(semReturnHandle);
  }
  /* USER CODE END StartVSIM */
}

void StartPrint(void *argument)
{
  /* USER CODE BEGIN StartPrint */
	MSGQUEUE_OBJ_t msg;
	osStatus_t status;
  /* Infinite loop */
  for(;;)
  {
	// get data from message queue and send data by UART
	while(osMessageQueueGetCount(queueHandle) != 0){
		osMutexAcquire(mutexPrintHandle, osWaitForever);
		// if message run
		status = osMessageQueueGet(queueHandle, &msg, NULL, 0U);
			if(status == osOK){
				// the pH meter, temperature and all the voltammerty channels have a own message
				if(msg.channel == P1){
					while(UART_tx_flag != 0);
					HAL_UART_Transmit_DMA(&huart2, (uint8_t*)"P1, ", 4);
					UART_tx_flag = 1;
					uint8_t buff_tick[10];
					uint8_t size_tick = float_to_ASCII((float)msg.tick, buff_tick);
					while(UART_tx_flag != 0);
					HAL_UART_Transmit_DMA(&huart2, buff_tick, size_tick);
					UART_tx_flag = 1;
					while(UART_tx_flag != 0);
					HAL_UART_Transmit_DMA(&huart2, (uint8_t*)", ", 2);
					UART_tx_flag = 1;
					uint8_t buff_val[10];
					uint8_t size_val = float_to_ASCII(msg.val, buff_val);
					while(UART_tx_flag != 0);
					HAL_UART_Transmit_DMA(&huart2, buff_val, size_val);
					UART_tx_flag = 1;
					while(UART_tx_flag != 0);
					HAL_UART_Transmit_DMA(&huart2, (uint8_t*)" V\n", 3);
					UART_tx_flag = 1;
				}
				if(msg.channel == TEMP){
					while(UART_tx_flag != 0);
					HAL_UART_Transmit_DMA(&huart2, (uint8_t*)"TEMP, ", 6);
					UART_tx_flag = 1;
					uint8_t buff_val[10];
					uint8_t size_val = float_to_ASCII(msg.val, buff_val);
					while(UART_tx_flag != 0);
					HAL_UART_Transmit_DMA(&huart2, buff_val, size_val);
					UART_tx_flag = 1;
					while(UART_tx_flag != 0);
					HAL_UART_Transmit_DMA(&huart2, (uint8_t*)" C\n", 3);
					UART_tx_flag = 1;
				}
				// check which voltammerty channel is in the message and send appropriate message accordingly
				if(msg.channel == V1 || msg.channel == V2 || msg.channel == V3 || msg.channel == V4){
					while(UART_tx_flag != 0);
					switch(msg.channel){
						case V1:
							HAL_UART_Transmit_DMA(&huart2, (uint8_t*)"V1, ", 4);
							break;
						case V2:
							HAL_UART_Transmit_DMA(&huart2, (uint8_t*)"V2, ", 4);
							break;
						case V3:
							HAL_UART_Transmit_DMA(&huart2, (uint8_t*)"V3, ", 4);
							break;
						case V4:
							HAL_UART_Transmit_DMA(&huart2, (uint8_t*)"V4, ", 4);
							break;
					}
					UART_tx_flag = 1;

					uint8_t buff_tick[10];
					uint8_t size_tick = float_to_ASCII((float)msg.tick, buff_tick);
					while(UART_tx_flag != 0);
					HAL_UART_Transmit_DMA(&huart2, buff_tick, size_tick);
					UART_tx_flag = 1;
					while(UART_tx_flag != 0);
					HAL_UART_Transmit_DMA(&huart2, (uint8_t*)", ", 2);
					UART_tx_flag = 1;
					uint8_t buff_val_x[10];
					uint8_t size_val_x = float_to_ASCII(msg.val_x, buff_val_x);
					while(UART_tx_flag != 0);
					HAL_UART_Transmit_DMA(&huart2, buff_val_x, size_val_x);
					UART_tx_flag = 1;
					while(UART_tx_flag != 0);
					HAL_UART_Transmit_DMA(&huart2, (uint8_t*)", ", 2);
					UART_tx_flag = 1;
					uint8_t buff_val[10];
					uint8_t size_val = float_to_ASCII(msg.val, buff_val);
					while(UART_tx_flag != 0);
					HAL_UART_Transmit_DMA(&huart2, buff_val, size_val);
					UART_tx_flag = 1;
					while(UART_tx_flag != 0);
					HAL_UART_Transmit_DMA(&huart2, (uint8_t*)", ", 2);
					UART_tx_flag = 1;
					uint8_t buff_val_rf[10];
					uint8_t size_val_rf = float_to_ASCII(msg.val_rf, buff_val_rf);
					while(UART_tx_flag != 0);
					HAL_UART_Transmit_DMA(&huart2, buff_val_rf, size_val_rf);
					UART_tx_flag = 1;
					while(UART_tx_flag != 0);
					HAL_UART_Transmit_DMA(&huart2, (uint8_t*)"\n", 1);
					UART_tx_flag = 1;
				}
			}
			osMutexRelease(mutexPrintHandle);
	}
	osDelay(1);

  }
  /* USER CODE END StartPrint */
}

void HAL_TIM_PeriodElapsedCallback(TIM_HandleTypeDef *htim)
{
  if (htim->Instance == TIM1) {
    HAL_IncTick();
  }
}

void Error_Handler(void)
{
  __disable_irq();
  while (1)
  {
  }
}
